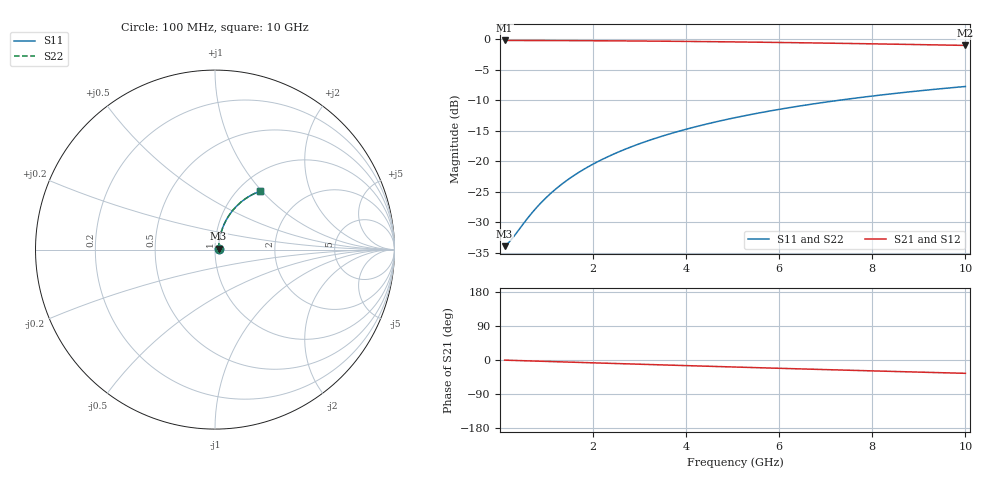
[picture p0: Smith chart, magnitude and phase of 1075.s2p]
# Hz S RI R 50.00
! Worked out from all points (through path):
!   100 points, 100 MHz to 10 GHz, reference 50 ohm
!   highest |S21| = -0.17 dB at 100 MHz (marker M1); lowest = -1.0 dB at 10 GHz (marker M2)
!   group delay of S21, straight-line fit = 9.8 ps
!   lowest |S11| = -33.9 dB at 100 MHz (marker M3), VSWR 1.04, Z = 52 + j0.472 ohm
!   |S11| at or under -10 dB: start of sweep to 7.269 GHz
!   |S22| runs from -33.9 to -7.7 dB; largest |S21 - S12| = 0
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1e8  0.0196 0.00453  0.9804 -0.0064  0.9804 -0.0064  0.0196 0.00453
2e8  0.0199 0.00907  0.9801 -0.0128  0.9801 -0.0128  0.0199 0.00907
3e8  0.0201 0.0136  0.9799 -0.0192  0.9799 -0.0192  0.0201 0.0136
5e8  0.0207 0.0226  0.9792 -0.032  0.9792 -0.032  0.0207 0.0226
7e8  0.0215 0.0317  0.9784 -0.0447  0.9784 -0.0447  0.0215 0.0317
8e8  0.022 0.0362  0.9779 -0.0511  0.9779 -0.0511  0.022 0.0362
1e9  0.0232 0.0451  0.9766 -0.0638  0.9766 -0.0638  0.0232 0.0451
1.2e9  0.0245 0.0541  0.9752 -0.0765  0.9752 -0.0765  0.0245 0.0541
1.4e9  0.0261 0.0629  0.9735 -0.0891  0.9735 -0.0891  0.0261 0.0629
1.6e9  0.0279 0.0718  0.9716 -0.1016  0.9716 -0.1016  0.0279 0.0718
1.8e9  0.03 0.0805  0.9694 -0.1141  0.9694 -0.1141  0.03 0.0805
2.1e9  0.0334 0.0936  0.9658 -0.1328  0.9658 -0.1328  0.0334 0.0936
2.5e9  0.0388 0.1106  0.9601 -0.1573  0.9601 -0.1573  0.0388 0.1106
2.9e9  0.045 0.1273  0.9534 -0.1815  0.9534 -0.1815  0.045 0.1273
3.4e9  0.0539 0.1476  0.944 -0.2112  0.944 -0.2112  0.0539 0.1476
4.2e9  0.0706 0.1785  0.9262 -0.2571  0.9262 -0.2571  0.0706 0.1785
5.1e9  0.0927 0.2106  0.9026 -0.3061  0.9026 -0.3061  0.0927 0.2106
5.9e9  0.1149 0.2364  0.8788 -0.347  0.8788 -0.347  0.1149 0.2364
6.7e9  0.139 0.2596  0.8528 -0.3853  0.8528 -0.3853  0.139 0.2596
7.5e9  0.1648 0.28  0.825 -0.4209  0.825 -0.4209  0.1648 0.28
8.4e9  0.1952 0.2994  0.792 -0.4575  0.792 -0.4575  0.1952 0.2994
1e10  0.2516 0.3251  0.7301 -0.5139  0.7301 -0.5139  0.2516 0.3251
